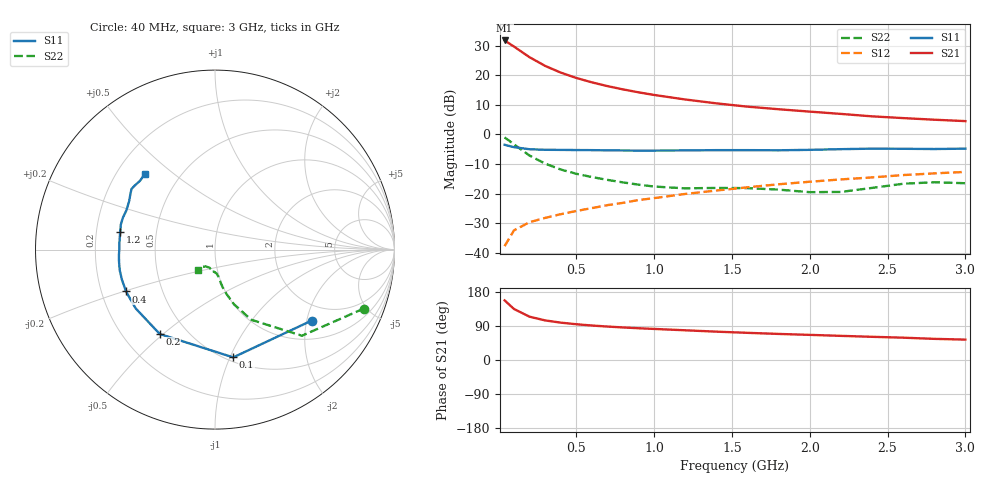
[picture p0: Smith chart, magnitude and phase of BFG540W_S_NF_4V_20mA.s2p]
! Filename:  BFG540WC.S2P  Version:  4.0
! Philips part #: BFG540  Date: Jun 1994
! Bias condition: Vce=4.0V, Ic=20.0mA
! IN LINE PINNING: same data as with cross emitter pinning.
#  MHz  S  MA  R  50
! Freq  S11  S21  S12  S22  !GUM [dB]
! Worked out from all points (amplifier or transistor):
!   21 points, 40 MHz to 3 GHz, reference 50 ohm
!   highest |S21| = 31.7 dB at 40 MHz (marker M1)
!   |S21| within 3 dB of that: start of sweep to 126.2 MHz
!   unconditionally stable (mu >= 1): 774.8 MHz to end of sweep
!   at 300 MHz: K = 0.66, MSG = 25.7 dB, |S12| = -28.2 dB
!   at 1 GHz: K = 1.06, MAG = 15.9 dB, |S12| = -21.5 dB
!   at 3 GHz: K = 1.07, MAG = 6.9 dB, |S12| = -12.7 dB
!   lowest NFmin = 1.50 dB at 900 MHz
!   S11 on the Smith chart (normalised r, x): 40 MHz: 1.50, -2.14; 100 MHz: 0.54, -1.03; 200 MHz: 0.35, -0.49; 400 MHz: 0.31, -0.20; 1.2 GHz: 0.30, +0.08; 3 GHz: 0.32, +0.40
40  0.668 -36.3  38.54 157.3  0.013 73.3  0.892 -21.6
100  0.609 -80.4  30.41 134.7  0.024 58.4  0.682 -44.7
200  0.562 -123.2  20.1 114.3  0.033 51.5  0.44 -62.7
300  0.55 -143.4  14.35 104.5  0.039 52.4  0.322 -70.9
400  0.548 -154.8  11.06 98.6  0.045 55.6  0.256 -75.4
500  0.545 -162.4  8.991 94.4  0.051 58.4  0.217 -78.3
600  0.543 -168.0  7.576 91.0  0.057 61.4  0.191 -80.0
700  0.539 -172.8  6.543 88.3  0.064 63.0  0.171 -81.1
800  0.536 -176.8  5.758 85.9  0.07 64.8  0.155 -82.4
900  0.533 179.5  5.136 83.8  0.078 66.3  0.142 -84.3
1000  0.534 175.8  4.637 82.0  0.084 67.6  0.132 -86.7
1200  0.537 169.7  3.887 78.4  0.099 69.0  0.123 -92.8
1400  0.543 165.1  3.345 74.8  0.113 69.7  0.125 -97.8
1600  0.543 160.8  2.941 71.7  0.128 70.9  0.124 -98.8
1800  0.54 155.9  2.661 68.8  0.144 70.4  0.117 -99.4
2000  0.549 150.6  2.426 66.3  0.159 70.5  0.106 -106.1
2200  0.564 146.7  2.22 63.7  0.174 70.0  0.107 -119.0
2400  0.575 144.0  2.019 61.2  0.188 70.4  0.125 -128.4
2600  0.572 141.3  1.886 58.9  0.206 69.8  0.147 -129.5
2800  0.567 137.5  1.771 55.8  0.22 68.3  0.156 -127.5
3000  0.575 132.7  1.677 53.8  0.233 68.1  0.15 -129.1
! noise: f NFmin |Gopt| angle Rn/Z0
900  1.5  0.281  159  0.11
2000  2.2  0.518  -157  0.12
